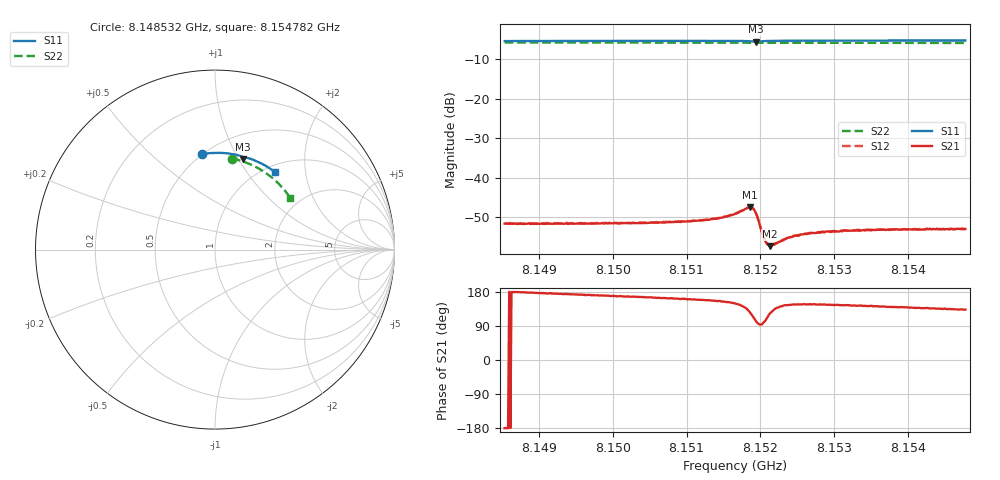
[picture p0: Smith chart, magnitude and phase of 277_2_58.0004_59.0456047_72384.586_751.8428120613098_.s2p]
#  HZ  S  RI  R  50.00
! Rohde & Schwarz Vector Network Analyzer
! Rohde-Schwarz,ZNB20-2Port,1311601062101988,3.16
! Created: UTC 3/21/2024, 1:02:43 AM
! freq[Hz]  re:S11  im:S11  re:S21  im:S21  re:S12  im:S12  re:S22  im:S22
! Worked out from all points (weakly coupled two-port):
!   401 points, 8.148532 GHz to 8.154782 GHz, reference 50 ohm
!   highest |S21| = -47.48 dB at 8.15186 GHz (marker M1); lowest = -57.3 dB at 8.152126 GHz (marker M2)
!   lowest |S11| = -5.5 dB at 8.151938 GHz (marker M3), VSWR 3.25, Z = 37.2 + j52.3 ohm
!   |S11| at or under -10 dB: nowhere
!   |S22| runs from -5.9 to -5.7 dB; largest |S21 - S12| = 0.00011
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8.1485319e9  -0.0728 0.5322  -0.00265 -1.19e-05  -0.00268 1.33e-05  0.0934 0.5074
8.1495788e9  -7.16e-05 0.539  -0.00265 0.00035  -0.00265 0.000403  0.1592 0.4897
8.1506258e9  0.0732 0.5356  -0.00263 0.000742  -0.00265 0.000815  0.2218 0.4634
8.1512352e9  0.1156 0.5289  -0.00273 0.00108  -0.00273 0.00112  0.2564 0.4444
8.151454e9  0.1313 0.5251  -0.00285 0.00129  -0.00281 0.00135  0.2683 0.4369
8.1516571e9  0.1464 0.5202  -0.00301 0.00179  -0.00299 0.00185  0.2792 0.4298
8.1518134e9  0.1576 0.5126  -0.00292 0.00286  -0.00289 0.00296  0.2875 0.4238
8.1518603e9  0.1592 0.5088  -0.00246 0.00344  -0.00244 0.0035  0.2899 0.4218
8.1519072e9  0.1582 0.5058  -0.00156 0.00375  -0.00151 0.0038  0.2921 0.4201
8.1519384e9  0.1567 0.5054  -0.000815 0.00352  -0.00076 0.00357  0.2937 0.419
8.1519697e9  0.1557 0.5068  -0.000331 0.00298  -0.000281 0.003  0.2952 0.4179
8.1520478e9  0.1596 0.5113  -0.000294 0.00174  -0.000251 0.00175  0.2992 0.4152
8.1520947e9  0.1637 0.5125  -0.000534 0.00133  -0.000523 0.00139  0.3015 0.4134
8.1521259e9  0.1664 0.5128  -0.000726 0.00116  -0.000691 0.00121  0.3033 0.4123
8.1521416e9  0.1678 0.5127  -0.000794 0.00115  -0.000766 0.00118  0.3041 0.4117
8.1521884e9  0.1717 0.5125  -0.000974 0.00104  -0.000988 0.00108  0.3065 0.4098
8.1523603e9  0.1849 0.5098  -0.00141 0.001  -0.00142 0.000986  0.3152 0.403
8.1524228e9  0.1896 0.5085  -0.00147 0.001  -0.00149 0.00106  0.3183 0.4005
8.1527041e9  0.2089 0.5018  -0.00169 0.0011  -0.00167 0.00113  0.332 0.3887
8.153126e9  0.2363 0.4903  -0.00176 0.00126  -0.00175 0.00127  0.3516 0.3701
8.1537511e9  0.2752 0.4707  -0.00168 0.00141  -0.00173 0.00143  0.3788 0.341
8.1547824e9  0.3351 0.432  -0.00154 0.00165  -0.00154 0.00168  0.4182 0.289
